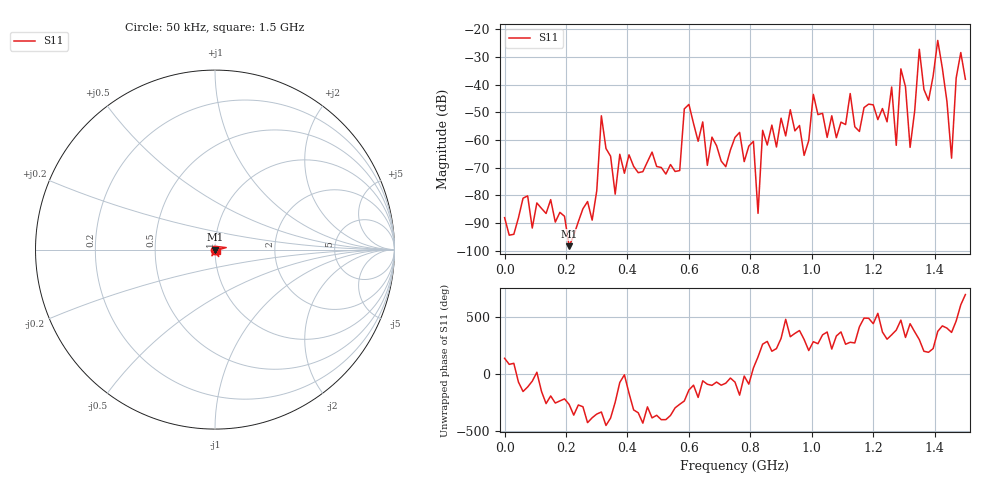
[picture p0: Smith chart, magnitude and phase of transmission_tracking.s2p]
! Created with skrf 1.8.0 (http://scikit-rf.org).
# Hz S RI R 50.0
!freq ReS11 ImS11
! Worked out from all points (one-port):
!   101 points, 50 kHz to 1.5 GHz, reference 50 ohm
!   lowest |S11| = -98.3 dB at 210 MHz (marker M1), VSWR 1.00, Z = 50 + j0.00121 ohm
!   |S11| at or under -10 dB: start of sweep to end of sweep
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50000  -2.76e-05 2.84e-05
1.950435e8  -3.13e-05 2.79e-05
2.10043e8  4.47e-08 1.21e-05
3.0004e8  0.000121 1.07e-05
3.150395e8  0.00253 0.00108
3.60038e8  -3.42e-05 9.97e-05
3.750375e8  0.000122 -0.000541
5.70031e8  -3.9e-06 0.000281
6.0003e8  -0.00357 -0.0026
6.60028e8  -2.19e-05 -0.000349
7.50025e8  0.000293 -0.00108
8.10023e8  0.000614 0.000724
8.250225e8  -3.98e-05 2.58e-05
8.40022e8  -0.000297 -0.00147
9.450185e8  0.00146 -0.000182
1.080014e9  0.00096 -0.000546
1.125012e9  0.000612 -0.00691
1.155012e9  0.000909 0.00111
1.260008e9  0.00856 -0.00304
1.275008e9  0.000746 0.000302
1.290007e9  -0.00644 0.0183
1.320006e9  0.000157 0.000722
1.350005e9  0.0207 -0.0386
1.380004e9  -0.00518 -0.000638
1.410003e9  0.0622 0.0113
1.455002e9  0.000472 1.05e-05
1.470001e9  -0.00278 0.013
1.5e9  0.0113 -0.00558
